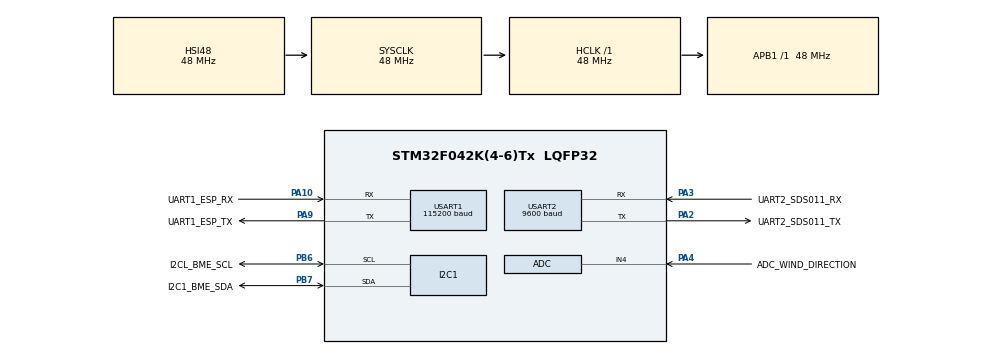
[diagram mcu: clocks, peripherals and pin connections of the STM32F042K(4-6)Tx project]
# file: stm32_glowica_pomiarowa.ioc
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ADC.ClockPrescaler=ADC_CLOCK_ASYNC_DIV1
ADC.ContinuousConvMode=DISABLE
ADC.DMAContinuousRequests=DISABLE
ADC.EOCSelection=ADC_EOC_SINGLE_CONV
ADC.SamplingTime=ADC_SAMPLETIME_239CYCLES_5
Dma.I2C1_RX.0.Direction=DMA_PERIPH_TO_MEMORY
Dma.I2C1_RX.0.Instance=DMA1_Channel3
Dma.I2C1_RX.0.MemDataAlignment=DMA_MDATAALIGN_BYTE
Dma.I2C1_RX.0.MemInc=DMA_MINC_ENABLE
Dma.I2C1_RX.0.Mode=DMA_NORMAL
Dma.I2C1_RX.0.PeriphDataAlignment=DMA_PDATAALIGN_BYTE
Dma.I2C1_RX.0.PeriphInc=DMA_PINC_DISABLE
Dma.I2C1_RX.0.Priority=DMA_PRIORITY_LOW
Dma.I2C1_TX.1.Direction=DMA_MEMORY_TO_PERIPH
Dma.I2C1_TX.1.Instance=DMA1_Channel2
Dma.I2C1_TX.1.MemDataAlignment=DMA_MDATAALIGN_BYTE
Dma.I2C1_TX.1.MemInc=DMA_MINC_ENABLE
Dma.I2C1_TX.1.Mode=DMA_NORMAL
Dma.I2C1_TX.1.PeriphDataAlignment=DMA_PDATAALIGN_BYTE
Dma.I2C1_TX.1.PeriphInc=DMA_PINC_DISABLE
Dma.I2C1_TX.1.Priority=DMA_PRIORITY_LOW
Dma.Request0=I2C1_RX
Dma.Request1=I2C1_TX
Mcu.Family=STM32F0
Mcu.Name=STM32F042K(4-6)Tx
Mcu.Package=LQFP32
NVIC.ADC1_IRQn=true\:0\:0\:false\:false\:true\:true\:true
NVIC.DMA1_Channel2_3_IRQn=true\:0\:0\:false\:false\:true\:false\:true
NVIC.I2C1_IRQn=true\:0\:0\:false\:false\:true\:true\:true
NVIC.RCC_CRS_IRQn=true\:0\:0\:false\:false\:true\:true\:false
NVIC.TIM3_IRQn=true\:0\:0\:false\:false\:true\:true\:true
NVIC.USART1_IRQn=true\:0\:0\:false\:false\:true\:true\:true
NVIC.USART2_IRQn=true\:0\:0\:false\:false\:true\:true\:true
PA1.GPIO_Label=ADC_SOIL_MISTURE
PA1.Signal=ADC_IN1
PA10.GPIO_Label=UART1_ESP_RX
PA10.Mode=Asynchronous
PA10.Signal=USART1_RX
PA13.Mode=Serial_Wire
PA13.Signal=SYS_SWDIO
PA14.Mode=Serial_Wire
PA14.Signal=SYS_SWCLK
PA2.GPIO_Label=UART2_SDS011_TX
PA2.Mode=Asynchronous
PA2.Signal=USART2_TX
PA3.GPIO_Label=UART2_SDS011_RX
PA3.Mode=Asynchronous
PA3.Signal=USART2_RX
PA4.GPIO_Label=ADC_WIND_DIRECTION
PA4.Mode=IN4
PA4.Signal=ADC_IN4
PA9.GPIO_Label=UART1_ESP_TX
PA9.Mode=Asynchronous
PA9.Signal=USART1_TX
PB6.GPIO_Label=I2CL_BME_SCL
PB6.Mode=I2C
PB6.Signal=I2C1_SCL
PB7.GPIO_Label=I2C1_BME_SDA
PB7.Mode=I2C
PB7.Signal=I2C1_SDA
PF0-OSC_IN.Mode=HSE-External-Oscillator
PF0-OSC_IN.Signal=RCC_OSC_IN
PF1-OSC_OUT.Mode=HSE-External-Oscillator
PF1-OSC_OUT.Signal=RCC_OSC_OUT
ProjectManager.HeapSize=0x200
ProjectManager.StackSize=0x400
ProjectManager.TargetToolchain=TrueSTUDIO
RCC.AHBFreq_Value=48000000
RCC.APB1Freq_Value=48000000
RCC.APB1TimFreq_Value=48000000
RCC.HCLKFreq_Value=48000000
RCC.HSE_VALUE=16000000
RCC.PLLSourceVirtual=RCC_PLLSOURCE_HSE
RCC.SYSCLKFreq_VALUE=48000000
RCC.SYSCLKSource=RCC_SYSCLKSOURCE_HSI48
TIM3.Period=63999
TIM3.Prescaler=749
USART1.BaudRate=115200
USART1.VirtualMode-Asynchronous=VM_ASYNC
USART2.BaudRate=9600
USART2.VirtualMode-Asynchronous=VM_ASYNC
VP_TIM3_VS_ClockSourceINT.Mode=Internal
board=custom

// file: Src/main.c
/* USER CODE BEGIN Header */
/*
 * Copyright  Michał Młodawski (SimpleMethod)(c) 2019.
 */
/* USER CODE END Header */

#include "main.h"

/* USER CODE BEGIN Includes */
#include "sds011.h"

#include <stdio.h>
#include <stdarg.h>
#include <string.h>
/* USER CODE END Includes */

/* USER CODE BEGIN PTD */
#define BME280
/* USER CODE END PTD */

ADC_HandleTypeDef hadc;

I2C_HandleTypeDef hi2c1;
DMA_HandleTypeDef hdma_i2c1_rx;
DMA_HandleTypeDef hdma_i2c1_tx;

TIM_HandleTypeDef htim3;

UART_HandleTypeDef huart1;
UART_HandleTypeDef huart2;

/* USER CODE BEGIN PV */
SDS sds;

uint8_t data[50];
uint16_t size = 0;

uint8_t pm2_5,pm10;

uint32_t ADC_raw, Vdd;
/* USER CODE END PV */

void SystemClock_Config(void);
static void MX_GPIO_Init(void);
static void MX_DMA_Init(void);
static void MX_ADC_Init(void);
static void MX_USART1_UART_Init(void);
static void MX_USART2_UART_Init(void);
static void MX_TIM3_Init(void);
static void MX_I2C1_Init(void);
/* USER CODE BEGIN PFP */
void HAL_TIM_PeriodElapsedCallback(TIM_HandleTypeDef *htim){
 if(htim->Instance == TIM3){
	 pm2_5 = sdsGetPm2_5(&sds); pm10= sdsGetPm10(&sds);
 }
}
/* USER CODE END PFP */

/* USER CODE BEGIN 0 */
void vprint(const char *fmt, va_list argp) {
	char string[200];
	if (0 < vsprintf(string, fmt, argp)) // build string
			{
		HAL_UART_Transmit(&huart1, (uint8_t*) string, strlen(string), 0xffffff); // send message via UART
	}
}

void my_printf(const char *fmt, ...) // custom printf() function
{
	va_list argp;
	va_start(argp, fmt);
	vprint(fmt, argp);
	va_end(argp);
}

void HAL_ADC_ConvCpltCallback(ADC_HandleTypeDef* hadc)
{
  if (__HAL_ADC_GET_FLAG(hadc, ADC_FLAG_EOC))
    {
    ADC_raw = HAL_ADC_GetValue(hadc);
    }
}
/* USER CODE END 0 */

int main(void)
{

  /* MCU Configuration--------------------------------------------------------*/

  /* Reset of all peripherals, Initializes the Flash interface and the Systick. */
  HAL_Init();

  /* Configure the system clock */
  SystemClock_Config();

  /* Initialize all configured peripherals */
  MX_GPIO_Init();
  MX_DMA_Init();
  MX_ADC_Init();
  MX_USART1_UART_Init();
  MX_USART2_UART_Init();
  MX_TIM3_Init();
  MX_I2C1_Init();
  /* USER CODE BEGIN 2 */
  HAL_TIM_Base_Start_IT(&htim3);
	sdsInit(&sds, &huart2);
	sdsWorkingMode(&sds);
  /* USER CODE END 2 */

  /* Infinite loop */
  while (1)
  {

    /* USER CODE BEGIN 3 */

	  while (1)
	   {
	     /* USER CODE END WHILE */

	     /* USER CODE BEGIN 3 */
	 	  if (__HAL_UART_GET_FLAG(&huart1, UART_FLAG_RXNE) == SET)
	 	  {
	 	  uint8_t value;
	 	  HAL_UART_Receive(&huart1, &value, 1, 100);
	 	  switch (value) {
			case 50:
				 my_printf("%d\n\r",  pm2_5);
				break;
			case 51:
				my_printf("%d\n\r",pm10);
				break;
			case 52:
				sdsWorkingMode(&sds);
				break;
			case 53:
				sdsSleepMode(&sds);
				break;
			case 54:
				my_printf("CONNECTION TEST\n\r");
					break;
			case 55:
		 		 my_printf("RAW DATA: %d %d\n\r",  pm2_5, pm10);
					break;
			default:
				break;
		}
	 	  }
	   }
  }
  /* USER CODE END 3 */
}

void SystemClock_Config(void)
{
  RCC_OscInitTypeDef RCC_OscInitStruct = {0};
  RCC_ClkInitTypeDef RCC_ClkInitStruct = {0};
  RCC_PeriphCLKInitTypeDef PeriphClkInit = {0};

  /** Initializes the CPU, AHB and APB busses clocks
  */
  RCC_OscInitStruct.OscillatorType = RCC_OSCILLATORTYPE_HSI|RCC_OSCILLATORTYPE_HSI14
                              |RCC_OSCILLATORTYPE_HSI48;
  RCC_OscInitStruct.HSIState = RCC_HSI_ON;
  RCC_OscInitStruct.HSI48State = RCC_HSI48_ON;
  RCC_OscInitStruct.HSI14State = RCC_HSI14_ON;
  RCC_OscInitStruct.HSICalibrationValue = RCC_HSICALIBRATION_DEFAULT;
  RCC_OscInitStruct.HSI14CalibrationValue = 16;
  RCC_OscInitStruct.PLL.PLLState = RCC_PLL_NONE;
  if (HAL_RCC_OscConfig(&RCC_OscInitStruct) != HAL_OK)
  {
    Error_Handler();
  }
  /** Initializes the CPU, AHB and APB busses clocks
  */
  RCC_ClkInitStruct.ClockType = RCC_CLOCKTYPE_HCLK|RCC_CLOCKTYPE_SYSCLK
                              |RCC_CLOCKTYPE_PCLK1;
  RCC_ClkInitStruct.SYSCLKSource = RCC_SYSCLKSOURCE_HSI48;
  RCC_ClkInitStruct.AHBCLKDivider = RCC_SYSCLK_DIV1;
  RCC_ClkInitStruct.APB1CLKDivider = RCC_HCLK_DIV1;

  if (HAL_RCC_ClockConfig(&RCC_ClkInitStruct, FLASH_LATENCY_1) != HAL_OK)
  {
    Error_Handler();
  }
  PeriphClkInit.PeriphClockSelection = RCC_PERIPHCLK_USART1|RCC_PERIPHCLK_I2C1;
  PeriphClkInit.Usart1ClockSelection = RCC_USART1CLKSOURCE_PCLK1;
  PeriphClkInit.I2c1ClockSelection = RCC_I2C1CLKSOURCE_HSI;
  if (HAL_RCCEx_PeriphCLKConfig(&PeriphClkInit) != HAL_OK)
  {
    Error_Handler();
  }
}

static void MX_ADC_Init(void)
{

  ADC_ChannelConfTypeDef sConfig = {0};

  /** Configure the global features of the ADC (Clock, Resolution, Data Alignment and number of conversion)
  */
  hadc.Instance = ADC1;
  hadc.Init.ClockPrescaler = ADC_CLOCK_ASYNC_DIV1;
  hadc.Init.Resolution = ADC_RESOLUTION_12B;
  hadc.Init.DataAlign = ADC_DATAALIGN_RIGHT;
  hadc.Init.ScanConvMode = ADC_SCAN_DIRECTION_FORWARD;
  hadc.Init.EOCSelection = ADC_EOC_SINGLE_CONV;
  hadc.Init.LowPowerAutoWait = DISABLE;
  hadc.Init.LowPowerAutoPowerOff = DISABLE;
  hadc.Init.ContinuousConvMode = DISABLE;
  hadc.Init.DiscontinuousConvMode = DISABLE;
  hadc.Init.ExternalTrigConv = ADC_SOFTWARE_START;
  hadc.Init.ExternalTrigConvEdge = ADC_EXTERNALTRIGCONVEDGE_NONE;
  hadc.Init.DMAContinuousRequests = DISABLE;
  hadc.Init.Overrun = ADC_OVR_DATA_PRESERVED;
  if (HAL_ADC_Init(&hadc) != HAL_OK)
  {
    Error_Handler();
  }
  /** Configure for the selected ADC regular channel to be converted.
  */
  sConfig.Channel = ADC_CHANNEL_4;
  sConfig.Rank = ADC_RANK_CHANNEL_NUMBER;
  sConfig.SamplingTime = ADC_SAMPLETIME_239CYCLES_5;
  if (HAL_ADC_ConfigChannel(&hadc, &sConfig) != HAL_OK)
  {
    Error_Handler();
  }

}

static void MX_I2C1_Init(void)
{

  hi2c1.Instance = I2C1;
  hi2c1.Init.Timing = 0x2000090E;
  hi2c1.Init.OwnAddress1 = 0;
  hi2c1.Init.AddressingMode = I2C_ADDRESSINGMODE_7BIT;
  hi2c1.Init.DualAddressMode = I2C_DUALADDRESS_DISABLE;
  hi2c1.Init.OwnAddress2 = 0;
  hi2c1.Init.OwnAddress2Masks = I2C_OA2_NOMASK;
  hi2c1.Init.GeneralCallMode = I2C_GENERALCALL_DISABLE;
  hi2c1.Init.NoStretchMode = I2C_NOSTRETCH_DISABLE;
  if (HAL_I2C_Init(&hi2c1) != HAL_OK)
  {
    Error_Handler();
  }
  /** Configure Analogue filter
  */
  if (HAL_I2CEx_ConfigAnalogFilter(&hi2c1, I2C_ANALOGFILTER_ENABLE) != HAL_OK)
  {
    Error_Handler();
  }
  /** Configure Digital filter
  */
  if (HAL_I2CEx_ConfigDigitalFilter(&hi2c1, 0) != HAL_OK)
  {
    Error_Handler();
  }

}

static void MX_TIM3_Init(void)
{

  TIM_ClockConfigTypeDef sClockSourceConfig = {0};
  TIM_MasterConfigTypeDef sMasterConfig = {0};

  htim3.Instance = TIM3;
  htim3.Init.Prescaler = 749;
  htim3.Init.CounterMode = TIM_COUNTERMODE_UP;
  htim3.Init.Period = 63999;
  htim3.Init.ClockDivision = TIM_CLOCKDIVISION_DIV1;
  htim3.Init.AutoReloadPreload = TIM_AUTORELOAD_PRELOAD_DISABLE;
  if (HAL_TIM_Base_Init(&htim3) != HAL_OK)
  {
    Error_Handler();
  }
  sClockSourceConfig.ClockSource = TIM_CLOCKSOURCE_INTERNAL;
  if (HAL_TIM_ConfigClockSource(&htim3, &sClockSourceConfig) != HAL_OK)
  {
    Error_Handler();
  }
  sMasterConfig.MasterOutputTrigger = TIM_TRGO_RESET;
  sMasterConfig.MasterSlaveMode = TIM_MASTERSLAVEMODE_DISABLE;
  if (HAL_TIMEx_MasterConfigSynchronization(&htim3, &sMasterConfig) != HAL_OK)
  {
    Error_Handler();
  }

}

static void MX_USART1_UART_Init(void)
{

  huart1.Instance = USART1;
  huart1.Init.BaudRate = 115200;
  huart1.Init.WordLength = UART_WORDLENGTH_8B;
  huart1.Init.StopBits = UART_STOPBITS_1;
  huart1.Init.Parity = UART_PARITY_NONE;
  huart1.Init.Mode = UART_MODE_TX_RX;
  huart1.Init.HwFlowCtl = UART_HWCONTROL_NONE;
  huart1.Init.OverSampling = UART_OVERSAMPLING_16;
  huart1.Init.OneBitSampling = UART_ONE_BIT_SAMPLE_DISABLE;
  huart1.AdvancedInit.AdvFeatureInit = UART_ADVFEATURE_NO_INIT;
  if (HAL_UART_Init(&huart1) != HAL_OK)
  {
    Error_Handler();
  }

}

static void MX_USART2_UART_Init(void)
{

  huart2.Instance = USART2;
  huart2.Init.BaudRate = 9600;
  huart2.Init.WordLength = UART_WORDLENGTH_8B;
  huart2.Init.StopBits = UART_STOPBITS_1;
  huart2.Init.Parity = UART_PARITY_NONE;
  huart2.Init.Mode = UART_MODE_TX_RX;
  huart2.Init.HwFlowCtl = UART_HWCONTROL_NONE;
  huart2.Init.OverSampling = UART_OVERSAMPLING_16;
  huart2.Init.OneBitSampling = UART_ONE_BIT_SAMPLE_DISABLE;
  huart2.AdvancedInit.AdvFeatureInit = UART_ADVFEATURE_NO_INIT;
  if (HAL_UART_Init(&huart2) != HAL_OK)
  {
    Error_Handler();
  }

}

static void MX_DMA_Init(void)
{
  /* DMA controller clock enable */
  __HAL_RCC_DMA1_CLK_ENABLE();

  /* DMA interrupt init */
  /* DMA1_Channel2_3_IRQn interrupt configuration */
  HAL_NVIC_SetPriority(DMA1_Channel2_3_IRQn, 0, 0);
  HAL_NVIC_EnableIRQ(DMA1_Channel2_3_IRQn);

}

static void MX_GPIO_Init(void)
{

  /* GPIO Ports Clock Enable */
  __HAL_RCC_GPIOF_CLK_ENABLE();
  __HAL_RCC_GPIOA_CLK_ENABLE();
  __HAL_RCC_GPIOB_CLK_ENABLE();

}

/* USER CODE BEGIN 4 */
void HAL_UART_RxCpltCallback(UART_HandleTypeDef *huart)
{
sds_uart_RxCpltCallback(&sds,huart);
}
/* USER CODE END 4 */

void Error_Handler(void)
{
}

/************************ (C) COPYRIGHT STMicroelectronics *****END OF FILE****/
